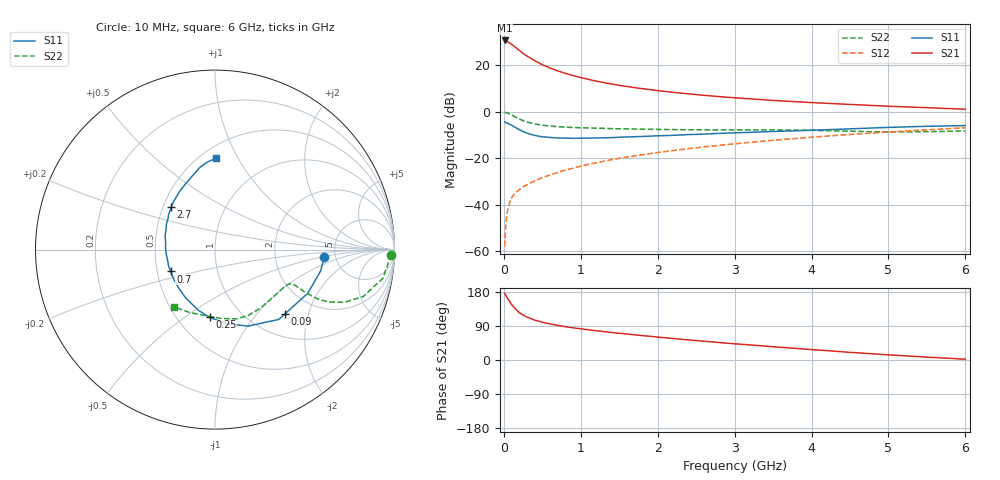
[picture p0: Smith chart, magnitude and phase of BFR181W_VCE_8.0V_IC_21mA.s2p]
! Infineon Technologies  Discrete & RF Semiconductors
! BFR181W
! VCE =  8.0 V,  IC =  21 mA
! Common Emitter S-Parameters:  Jan 2017
# GHz  S  MA  R  50
!  f  S11  S21  S12  S22
! GHz  MAG  ANG  MAG  ANG  MAG  ANG  MAG  ANG
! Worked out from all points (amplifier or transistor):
!   77 points, 10 MHz to 6 GHz, reference 50 ohm
!   highest |S21| = 30.7 dB at 10 MHz (marker M1)
!   |S21| within 3 dB of that: start of sweep to 154.3 MHz
!   unconditionally stable (mu >= 1): 734.7 MHz to 2.573 GHz
!   at 130 MHz: K = 0.39, MSG = 32.0 dB, |S12| = -35.6 dB
!   at 2.2 GHz: K = 1.03, MAG = 11.5 dB, |S12| = -16.6 dB
!   at 6 GHz: K = 0.83, MSG = 4.0 dB, |S12| = -6.8 dB
!   S11 on the Smith chart (normalised r, x): 10 MHz: 4.06, -0.54; 90 MHz: 1.43, -1.43; 250 MHz: 0.71, -0.63; 700 MHz: 0.59, -0.15; 2.7 GHz: 0.55, +0.29; 6 GHz: 0.60, +0.82
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0.01  0.6105 -3.9  34.39 176.0  0.0013 79.4  0.9797 -1.6
0.02  0.6009 -11.3  33.99 172.0  0.0029 105.6  0.9725 -3.6
0.05  0.5715 -25.2  32.37 162.0  0.0079 81.0  0.9487 -9.8
0.09  0.529 -42.9  29.23 149.8  0.0129 75.2  0.881 -15.9
0.1  0.5269 -47.6  28.68 146.4  0.0142 74.4  0.8658 -17.6
0.15  0.4643 -66.7  24.68 134.6  0.0183 67.4  0.7782 -22.2
0.2  0.417 -81.5  21.08 125.3  0.0213 65.4  0.7046 -24.5
0.25  0.3787 -94.6  18.25 118.5  0.0245 65.3  0.6493 -25.6
0.3  0.3503 -105.4  15.92 113.2  0.0272 65.1  0.6062 -25.7
0.4  0.3148 -121.5  12.63 105.3  0.0329 65.3  0.5512 -25.3
0.5  0.2925 -134.7  10.38 99.7  0.0386 67.0  0.5179 -24.7
0.6  0.2825 -145.0  8.813 95.1  0.0442 68.4  0.497 -24.2
0.7  0.2756 -153.8  7.637 91.3  0.0501 70.2  0.482 -23.9
0.9  0.2706 -167.3  6.032 84.9  0.0617 71.3  0.4632 -24.4
1.1  0.2737 -178.0  5.004 79.8  0.0745 72.6  0.4517 -25.5
1.5  0.2856 166.6  3.738 70.6  0.1002 72.7  0.4348 -29.3
2.1  0.31 149.0  2.754 58.7  0.1407 71.2  0.419 -38.3
2.7  0.3392 136.1  2.204 47.9  0.1838 68.5  0.4122 -49.4
3.1  0.3592 128.3  1.96 41.3  0.2141 66.1  0.4103 -56.7
4.1  0.4091 112.0  1.56 26.1  0.294 58.9  0.3985 -75.3
5.1  0.4703 99.3  1.307 12.5  0.3778 50.1  0.3713 -100.6
6  0.5084 89.1  1.143 2.1  0.4554 41.1  0.3919 -125.4
